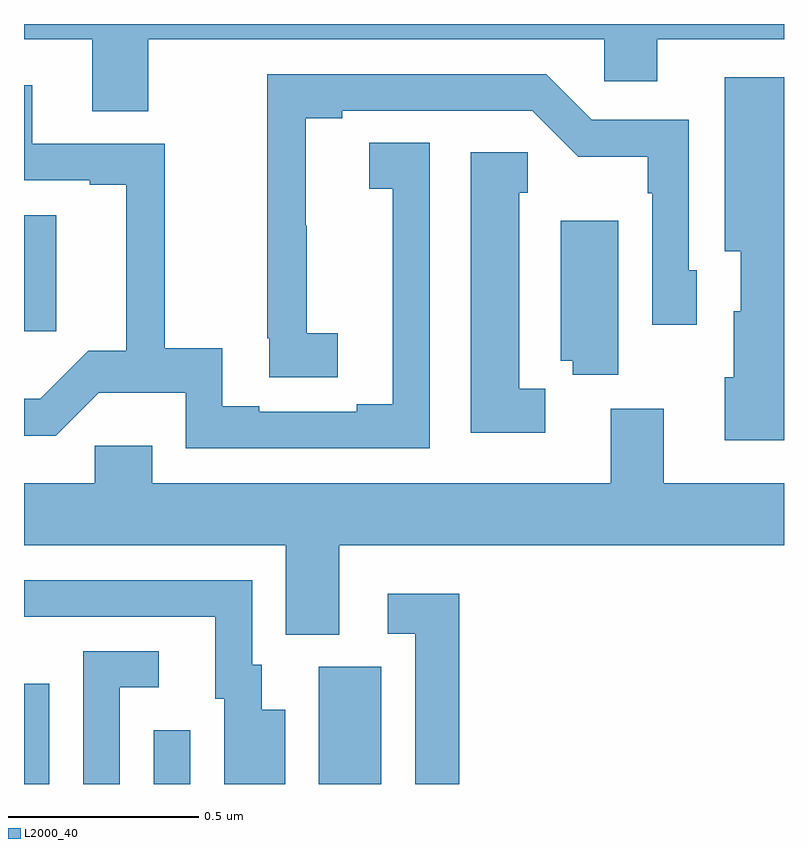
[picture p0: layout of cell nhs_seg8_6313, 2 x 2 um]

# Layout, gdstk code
import gdstk
lib = gdstk.Library(unit=1e-6, precision=1e-09)
def R(c, l, rs):  # rectangles x0, y0, x1, y1
    for r in rs: c.add(gdstk.rectangle(r[:2], r[2:], *l))
def P(c, l, *ps):  # polygons
    for p in ps: c.add(gdstk.Polygon(p, *l))
L2000_40 = (2000, 40)

nhs_seg8_6313 = lib.new_cell('nhs_seg8_6313')
R(nhs_seg8_6313, L2000_40, [(195,1087.9,195.067,1088.164), (195.342,1087.9,195.438,1088.041), (195.776,1087.9,195.94,1088.208), (195,1089.092,195.085,1089.397)])
P(nhs_seg8_6313, L2000_40, [(195.327,1089.86),(196.527,1089.86),(196.527,1089.75),(196.666,1089.75),(196.666,1089.86),(197,1089.86),(197,1089.9),(195,1089.9),(195,1089.86),(195.179,1089.86),(195.179,1089.67),(195.327,1089.67)],
  [(195.826,1089.086),(195.744,1089.086),(195.744,1089.369),(195.742,1089.369),(195.742,1089.652),(195.838,1089.652),(195.838,1089.672),(196.338,1089.672),(196.459,1089.551),(196.641,1089.551),(196.641,1089.455),(196.653,1089.455),(196.653,1089.108),(196.77,1089.108),(196.77,1089.252),(196.749,1089.252),(196.749,1089.648),(196.494,1089.648),(196.374,1089.768),(195.64,1089.768),(195.64,1089.073),(195.646,1089.073),(195.646,1088.971),(195.826,1088.971)],
  [(197,1089.76),(196.844,1089.76),(196.844,1089.302),(196.886,1089.302),(196.886,1089.144),(196.868,1089.144),(196.868,1088.97),(196.844,1088.97),(196.844,1088.804),(197,1088.804)],
  [(196.068,1089.587),(195.909,1089.587),(195.909,1089.467),(195.97,1089.467),(195.97,1089.163),(195.971,1089.163),(195.971,1088.9),(195.875,1088.9),(195.875,1088.88),(195.619,1088.88),(195.619,1088.894),(195.522,1088.894),(195.522,1089.047),(195.371,1089.047),(195.371,1089.585),(195.022,1089.585),(195.022,1089.739),(195,1089.739),(195,1089.489),(195.173,1089.489),(195.173,1089.477),(195.269,1089.477),(195.269,1089.04),(195.169,1089.04),(195.043,1088.914),(195,1088.914),(195,1088.817),(195.084,1088.817),(195.197,1088.93),(195.426,1088.93),(195.426,1088.784),(196.068,1088.784)],
  [(196.372,1088.94),(196.303,1088.94),(196.303,1089.456),(196.325,1089.456),(196.325,1089.562),(196.175,1089.562),(196.175,1088.825),(196.372,1088.825)],
  [(196.564,1089.382),(196.412,1089.382),(196.412,1089.014),(196.444,1089.014),(196.444,1088.977),(196.564,1088.977)],
  [(195.829,1088.528),(197,1088.528),(197,1088.692),(196.684,1088.692),(196.684,1088.887),(196.544,1088.887),(196.544,1088.692),(195.337,1088.692),(195.337,1088.79),(195.186,1088.79),(195.186,1088.692),(195,1088.692),(195,1088.528),(195.689,1088.528),(195.689,1088.293),(195.829,1088.293)],
  [(195.688,1088.095),(195.625,1088.095),(195.625,1088.214),(195.6,1088.214),(195.6,1088.436),(195,1088.436),(195,1088.34),(195.503,1088.34),(195.503,1088.124),(195.527,1088.124),(195.527,1087.9),(195.688,1087.9)],
  [(196.145,1088.401),(195.957,1088.401),(195.957,1088.295),(196.029,1088.295),(196.029,1087.9),(196.145,1087.9)],
  [(195.252,1088.154),(195.355,1088.154),(195.355,1088.25),(195.156,1088.25),(195.156,1087.9),(195.252,1087.9)])

lib.write_gds('nhs_seg8_6313.gds')
